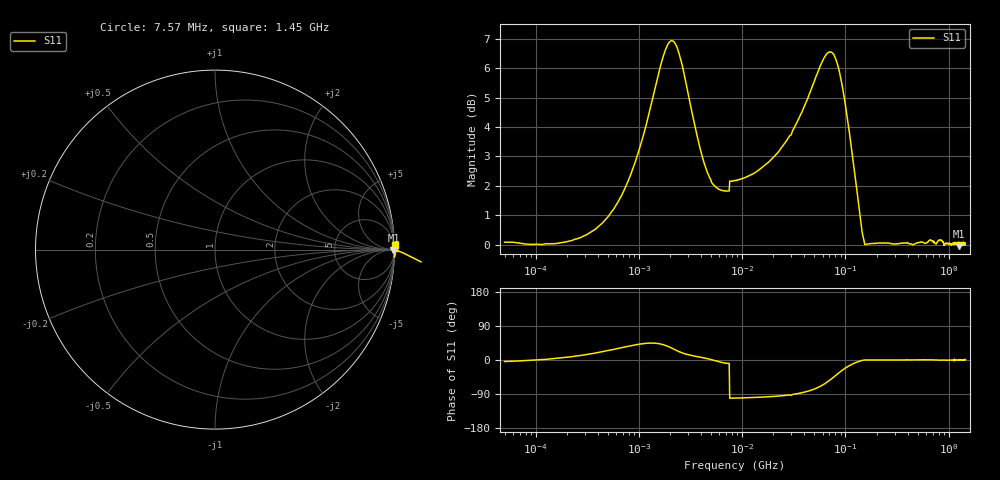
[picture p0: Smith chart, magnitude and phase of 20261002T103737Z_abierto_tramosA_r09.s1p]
! piloto_saltos / abierto_tramosA / r09
# HZ S RI R 50
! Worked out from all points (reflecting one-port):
!   501 points, 50 kHz to 1.45 GHz, reference 50 ohm
!   lowest |S11| = -0.1 dB at 1.261 GHz (marker M1), VSWR 322.56, Z = 1.14e+04 - j7.32e+03 ohm
!   phase of S11 starts at -4 deg and turns +5 deg over the sweep
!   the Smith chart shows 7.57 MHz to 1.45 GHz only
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50000  1.007 -0.07
183000  1.003 0.1062
363500  1.008 0.318
658000  1.022 0.6305
1180000  1.15 1.117
1630000  1.504 1.357
1990000  1.844 1.228
2440000  1.959 0.8037
2890000  1.799 0.4847
3430000  1.584 0.2908
4870000  1.296 0.0438
7300000  1.219 -0.1916
7750000  -0.2414 -1.259
8560000  -0.2342 -1.265
1.81e7  -0.1673 -1.373
3.16e7  -0.0125 -1.576
4.69e7  0.339 -1.811
6.4e7  1.005 -1.84
7.39e7  1.398 -1.598
8.65e7  1.649 -1.1
9.82e7  1.627 -0.6757
1e8  1.609 -0.6193
1.18e8  1.377 -0.2437
1.36e8  1.148 -0.0684
1.63e8  1.002 -0.000353
4.06e8  1.005 0.00223
1.261e9  0.9938 -0.00394
1.45e9  1.004 0.0247
